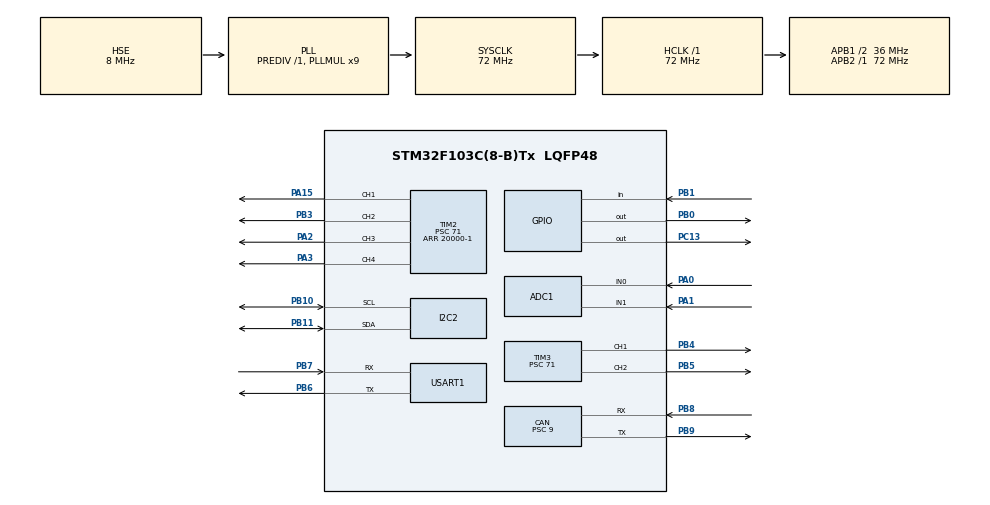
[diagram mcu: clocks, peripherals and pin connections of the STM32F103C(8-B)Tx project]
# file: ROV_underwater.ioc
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ADC1.Channel-3\#ChannelRegularConversion=ADC_CHANNEL_0
ADC1.Channel-4\#ChannelRegularConversion=ADC_CHANNEL_1
ADC1.ContinuousConvMode=DISABLE
ADC1.DataAlign=ADC_DATAALIGN_RIGHT
ADC1.DiscontinuousConvMode=DISABLE
ADC1.InjNumberOfConversion=0
ADC1.NbrOfConversion=2
ADC1.NbrOfConversionFlag=1
ADC1.Rank-3\#ChannelRegularConversion=1
ADC1.Rank-4\#ChannelRegularConversion=2
ADC1.SamplingTime-3\#ChannelRegularConversion=ADC_SAMPLETIME_1CYCLE_5
ADC1.SamplingTime-4\#ChannelRegularConversion=ADC_SAMPLETIME_1CYCLE_5
ADC1.master=1
CAN.BS1=CAN_BS1_13TQ
CAN.BS2=CAN_BS2_2TQ
CAN.CalculateTimeBit=4000
CAN.CalculateTimeQuantum=250.0
CAN.Prescaler=9
Dma.ADC1.0.Direction=DMA_PERIPH_TO_MEMORY
Dma.ADC1.0.Instance=DMA1_Channel1
Dma.ADC1.0.MemDataAlignment=DMA_MDATAALIGN_HALFWORD
Dma.ADC1.0.MemInc=DMA_MINC_ENABLE
Dma.ADC1.0.Mode=DMA_CIRCULAR
Dma.ADC1.0.PeriphDataAlignment=DMA_PDATAALIGN_HALFWORD
Dma.ADC1.0.PeriphInc=DMA_PINC_DISABLE
Dma.ADC1.0.Priority=DMA_PRIORITY_LOW
Dma.Request0=ADC1
I2C2.DualAddressMode=I2C_DUALADDRESS_DISABLE
I2C2.I2C_Mode=I2C_Standard
I2C2.NoStretchMode=I2C_NOSTRETCH_DISABLE
Mcu.Family=STM32F1
Mcu.Name=STM32F103C(8-B)Tx
Mcu.Package=LQFP48
NVIC.DMA1_Channel1_IRQn=true\:0\:0\:false\:false\:true\:false\:true
NVIC.PriorityGroup=NVIC_PRIORITYGROUP_4
NVIC.TIM2_IRQn=true\:0\:0\:false\:false\:true\:true\:true
NVIC.TIM3_IRQn=true\:0\:0\:false\:false\:true\:true\:true
NVIC.USB_HP_CAN1_TX_IRQn=true\:0\:0\:false\:false\:true\:true\:true
NVIC.USB_LP_CAN1_RX0_IRQn=true\:0\:0\:false\:false\:true\:true\:true
PA0-WKUP.Signal=ADCx_IN0
PA1.Signal=ADCx_IN1
PA13.Mode=Serial_Wire
PA13.Signal=SYS_JTMS-SWDIO
PA14.Mode=Serial_Wire
PA14.Signal=SYS_JTCK-SWCLK
PA15.Signal=S_TIM2_CH1_ETR
PA2.Signal=S_TIM2_CH3
PA3.Signal=S_TIM2_CH4
PB0.Signal=GPIO_Output
PB1.Signal=GPIO_Input
PB10.Mode=I2C
PB10.Signal=I2C2_SCL
PB11.Mode=I2C
PB11.Signal=I2C2_SDA
PB3.Signal=S_TIM2_CH2
PB4.Signal=S_TIM3_CH1
PB5.Signal=S_TIM3_CH2
PB6.Mode=Asynchronous
PB6.Signal=USART1_TX
PB7.Mode=Asynchronous
PB7.Signal=USART1_RX
PB8.Mode=Master
PB8.Signal=CAN_RX
PB9.Mode=Master
PB9.Signal=CAN_TX
PC13-TAMPER-RTC.GPIO_ModeDefaultOutputPP=GPIO_MODE_OUTPUT_PP
PC13-TAMPER-RTC.GPIO_PuPd=GPIO_NOPULL
PC13-TAMPER-RTC.Signal=GPIO_Output
PC14-OSC32_IN.Mode=LSE-External-Oscillator
PC14-OSC32_IN.Signal=RCC_OSC32_IN
PC15-OSC32_OUT.Mode=LSE-External-Oscillator
PC15-OSC32_OUT.Signal=RCC_OSC32_OUT
PD0-OSC_IN.Mode=HSE-External-Oscillator
PD0-OSC_IN.Signal=RCC_OSC_IN
PD1-OSC_OUT.Mode=HSE-External-Oscillator
PD1-OSC_OUT.Signal=RCC_OSC_OUT
ProjectManager.HeapSize=0x200
ProjectManager.StackSize=0x400
ProjectManager.TargetToolchain=STM32CubeIDE
RCC.ADCPresc=RCC_ADCPCLK2_DIV6
RCC.AHBFreq_Value=72000000
RCC.APB1CLKDivider=RCC_HCLK_DIV2
RCC.APB1Freq_Value=36000000
RCC.APB1TimFreq_Value=72000000
RCC.APB2Freq_Value=72000000
RCC.APB2TimFreq_Value=72000000
RCC.HCLKFreq_Value=72000000
RCC.PLLMUL=RCC_PLL_MUL9
RCC.PLLSourceVirtual=RCC_PLLSOURCE_HSE
RCC.SYSCLKFreq_VALUE=72000000
RCC.SYSCLKSource=RCC_SYSCLKSOURCE_PLLCLK
RCC.USBFreq_Value=72000000
SH.ADCx_IN0.0=ADC1_IN0,IN0
SH.ADCx_IN1.0=ADC1_IN1,IN1
SH.S_TIM2_CH1_ETR.0=TIM2_CH1,PWM Generation1 CH1
SH.S_TIM2_CH2.0=TIM2_CH2,PWM Generation2 CH2
SH.S_TIM2_CH3.0=TIM2_CH3,PWM Generation3 CH3
SH.S_TIM2_CH4.0=TIM2_CH4,PWM Generation4 CH4
SH.S_TIM3_CH1.0=TIM3_CH1,PWM Generation1 CH1
SH.S_TIM3_CH2.0=TIM3_CH2,PWM Generation2 CH2
TIM2.AutoReloadPreload=TIM_AUTORELOAD_PRELOAD_DISABLE
TIM2.Channel-PWM\ Generation1\ CH1=TIM_CHANNEL_1
TIM2.Channel-PWM\ Generation2\ CH2=TIM_CHANNEL_2
TIM2.Channel-PWM\ Generation3\ CH3=TIM_CHANNEL_3
TIM2.Channel-PWM\ Generation4\ CH4=TIM_CHANNEL_4
TIM2.Period=20000-1
TIM2.Prescaler=71
TIM3.AutoReloadPreload=TIM_AUTORELOAD_PRELOAD_DISABLE
TIM3.Channel-PWM\ Generation1\ CH1=TIM_CHANNEL_1
TIM3.Channel-PWM\ Generation2\ CH2=TIM_CHANNEL_2
TIM3.Period=20000-1
TIM3.Prescaler=71
TIM3.Pulse-PWM\ Generation1\ CH1=0
USART1.VirtualMode=VM_ASYNC
board=custom

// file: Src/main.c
/* USER CODE BEGIN Header */
/**
  ******************************************************************************
  * @file           : main.c
  * @brief          : Main program body
  ******************************************************************************
  * @attention
  *
  * <h2><center>&copy; Copyright (c) 2019 STMicroelectronics.
  * All rights reserved.</center></h2>
  *
  * This software component is licensed by ST under BSD 3-Clause license,
  * the "License"; You may not use this file except in compliance with the
  * License. You may obtain a copy of the License at:
  *                        opensource.org/licenses/BSD-3-Clause
  *
  ******************************************************************************
  */
/* USER CODE END Header */

#include "main.h"

/* USER CODE BEGIN Includes */
#include "sd_hal_mpu6050.h"
#define INTERVAL 3000 //interval ms
/* USER CODE END Includes */

ADC_HandleTypeDef hadc1;
DMA_HandleTypeDef hdma_adc1;

CAN_HandleTypeDef hcan;

I2C_HandleTypeDef hi2c2;

TIM_HandleTypeDef htim2;
TIM_HandleTypeDef htim3;

UART_HandleTypeDef huart1;

/* USER CODE BEGIN PV */

typedef struct{

	uint8_t mod;
	uint8_t armco;
	uint16_t desired_angle;
	uint16_t valueJoyStick_X_1;
	uint16_t valueJoyStick_Y_1;
	uint16_t valueJoyStick_X_2;
	uint16_t valueJoyStick_Y_2;

}Master;

Master control;
SD_MPU6050 mpu1 = {0};
CAN_FilterTypeDef sFilterConfig;
CAN_TxHeaderTypeDef TxHeader;
CAN_RxHeaderTypeDef RxHeader;
uint8_t TxData[8];
uint8_t RxData[8];
uint32_t TxMailbox;

uint16_t on_deger, arka_deger, onsa_deger, onso_deger, arsa_deger, arso_deger;

uint32_t last_time;

uint16_t adc_buffer[2];
uint8_t pin;
uint8_t armed = 1;
uint16_t i=0;
uint16_t pwmLeft = 1500;
uint16_t pwmRight = 1500;

char in[8];
/* USER CODE END PV */

void SystemClock_Config(void);
static void MX_GPIO_Init(void);
static void MX_DMA_Init(void);
static void MX_ADC1_Init(void);
static void MX_CAN_Init(void);
static void MX_I2C2_Init(void);
static void MX_TIM2_Init(void);
static void MX_TIM3_Init(void);
static void MX_USART1_UART_Init(void);

/* USER CODE BEGIN 0 */
float Battery();
void uartPrintln();
void uartPrint();
void arming();
uint16_t parseData(uint8_t bit8data);

float gyroXoffset, gyroYoffset, gyroZoffset;

float elapsedTime, time, timePrev;
float rad_to_deg = 180/3.141592654;

float PID = 0;
float error = 0;
float previous_error = 0;
float pid_p = 0;
float pid_i = 0;
float pid_d = 0;

double kp=3.55;//3.55
double ki=0.03;//0.003
double kd=2.05;//2.05

float desired_angle = 0;
/* USER CODE END 0 */

int main(void)
{

  /* MCU Configuration--------------------------------------------------------*/

  /* Reset of all peripherals, Initializes the Flash interface and the Systick. */
  HAL_Init();

  /* Configure the system clock */
  SystemClock_Config();

  /* Initialize all configured peripherals */
  MX_GPIO_Init();
  MX_DMA_Init();
  MX_ADC1_Init();
  MX_CAN_Init();
  MX_I2C2_Init();
  MX_TIM2_Init();
  MX_TIM3_Init();
  MX_USART1_UART_Init();
  /* USER CODE BEGIN 2 */

    last_time = HAL_GetTick(); // this give us the current

    HAL_TIM_Base_Start(&htim2);
    HAL_TIM_Base_Start(&htim3);

    HAL_ADC_Start_DMA(&hadc1, (uint32_t *)adc_buffer, 2);

    HAL_TIM_PWM_Start(&htim2, TIM_CHANNEL_1);
    HAL_TIM_PWM_Start(&htim2, TIM_CHANNEL_2);
    HAL_TIM_PWM_Start(&htim2, TIM_CHANNEL_3);
    HAL_TIM_PWM_Start(&htim2, TIM_CHANNEL_4);

    HAL_TIM_PWM_Start(&htim3, TIM_CHANNEL_1);
    HAL_TIM_PWM_Start(&htim3, TIM_CHANNEL_2);

    sFilterConfig.FilterBank = 0;
    sFilterConfig.FilterMode = CAN_FILTERMODE_IDMASK;
    sFilterConfig.FilterScale = CAN_FILTERSCALE_32BIT;
    sFilterConfig.FilterIdHigh = 0x0000;
    sFilterConfig.FilterIdLow = 0x0000;
    sFilterConfig.FilterMaskIdHigh = 0x0000;
    sFilterConfig.FilterMaskIdLow = 0x0000;
    sFilterConfig.FilterFIFOAssignment = CAN_RX_FIFO0;
    sFilterConfig.FilterActivation = ENABLE;
    sFilterConfig.SlaveStartFilterBank = 14;

    if (HAL_CAN_ConfigFilter(&hcan, &sFilterConfig) != HAL_OK)
    {
        /* Filter configuration Error */
        Error_Handler();
    }

    if (HAL_CAN_Start(&hcan) != HAL_OK)
    {
        /* Start Error */
        Error_Handler();
    }

    if (HAL_CAN_ActivateNotification(&hcan, CAN_IT_RX_FIFO0_MSG_PENDING | CAN_IT_TX_MAILBOX_EMPTY) != HAL_OK)
    {
        /* Notification Error */
        Error_Handler();
    }

    TxHeader.StdId = 0x321;
    TxHeader.ExtId = 0x01;
    TxHeader.RTR = CAN_RTR_DATA;
    TxHeader.IDE = CAN_ID_STD;
    TxHeader.DLC = 8;
    TxHeader.TransmitGlobalTime = DISABLE;

    time = HAL_GetTick();

    SD_MPU6050_Init(&hi2c2,&mpu1,SD_MPU6050_Device_0,SD_MPU6050_Accelerometer_2G,SD_MPU6050_Gyroscope_500s,1);

  /* USER CODE END 2 */

  /* Infinite loop */
    while (1)
    {

    /* USER CODE BEGIN 3 */
    	timePrev = time;
    	time = HAL_GetTick();
        elapsedTime = (time - timePrev) * 0.001;

        pin=HAL_GPIO_ReadPin(GPIOB, GPIO_PIN_1);

	    control.valueJoyStick_X_1 = parseData(RxData[0]);
		control.valueJoyStick_Y_1 = parseData(RxData[1]);
		control.valueJoyStick_X_2= parseData(RxData[2]);
		control.valueJoyStick_Y_2 = parseData(RxData[3]);
		control.desired_angle = parseData(RxData[4]);
		control.armco = RxData[5];
		control.mod = RxData[6];

        if(pin == 0 || control.mod!=1){
	    __HAL_TIM_SET_COMPARE(&htim2, TIM_CHANNEL_1, 0);
		__HAL_TIM_SET_COMPARE(&htim2, TIM_CHANNEL_2, 0);
		__HAL_TIM_SET_COMPARE(&htim2, TIM_CHANNEL_3, 0);
		__HAL_TIM_SET_COMPARE(&htim2, TIM_CHANNEL_4, 0);

		__HAL_TIM_SET_COMPARE(&htim3, TIM_CHANNEL_1, 0);
		__HAL_TIM_SET_COMPARE(&htim3, TIM_CHANNEL_2, 0);
		HAL_Delay(1000);
		HAL_NVIC_SystemReset();
        }

        arming();

    	char tx[250];

    	SD_MPU6050_ReadAngles(&hi2c2, &mpu1);

		//float AngleX = mpu1.GyroAngles_X;
		//float AngleY = mpu1.GyroAngles_Y;
		//float AngleZ = mpu1.GyroAngles_Z;
		float Temp = mpu1.Temperature;
		float AngleX = mpu1.Angels_X/2.0;
		float AngleY = mpu1.Angels_Y/2.0;
		float AngleZ = mpu1.Angels_Z/2.0;

		error = AngleZ - desired_angle;

		pid_p = kp*error;

		//if(-3.0 >= error && error <=3.0)
		pid_i = pid_i+(ki*error)*elapsedTime;

		pid_d = kd*((error - previous_error)/elapsedTime);

		PID = pid_p + pid_i + pid_d;

		if(PID <= -1000)
		  PID=-1000;
		if(PID >= 1000)
		  PID=1000;

        if(control.valueJoyStick_Y_1<1000 || control.valueJoyStick_Y_1>2000 || control.valueJoyStick_X_1<1000 || control.valueJoyStick_X_1>2000
        || control.valueJoyStick_Y_2<1000 || control.valueJoyStick_Y_2>2000 || control.valueJoyStick_X_2<1000 || control.valueJoyStick_X_2>2000)
        {
        	control.valueJoyStick_Y_1 = 1500;
        	control.valueJoyStick_X_1 = 1500;
        	control.valueJoyStick_Y_2 = 1500;
        	control.valueJoyStick_X_2 = 1500;
        }
        __HAL_TIM_SET_COMPARE(&htim3, TIM_CHANNEL_2, control.valueJoyStick_Y_1);//yukarı
        __HAL_TIM_SET_COMPARE(&htim2, TIM_CHANNEL_1, control.valueJoyStick_Y_1);//control.valueJoyStick_Y_1
/*
        pwmLeft + (int)PID
		pwmRight - (int)PID
		pwmRight - (int)PID
		pwmLeft + (int)PID
		*/
    	onsa_deger =  1500 + (int)PID  - (control.valueJoyStick_Y_2 - 1500) + (control.valueJoyStick_X_2 - 1500) + (control.valueJoyStick_X_1 - 1500);
        onso_deger =  1500 - (int)PID  - (control.valueJoyStick_Y_2 - 1500) - (control.valueJoyStick_X_2 - 1500) - (control.valueJoyStick_X_1 - 1500);
        arsa_deger =  1500 - (int)PID  + (control.valueJoyStick_Y_2 - 1500) + (control.valueJoyStick_X_2 - 1500) - (control.valueJoyStick_X_1 - 1500);
        arso_deger =  1500 + (int)PID + (control.valueJoyStick_Y_2 - 1500) - (control.valueJoyStick_X_2 - 1500) + (control.valueJoyStick_X_1 - 1500);

        if (onsa_deger >= 2000)
            onsa_deger = 2000;
        else if (onsa_deger <= 1000)
            onsa_deger = 1000;
        if (arsa_deger >= 2000)
            arsa_deger = 2000;
        else if (arsa_deger <= 1000)
            arsa_deger = 1000;
        if (onso_deger >= 2000)
            onso_deger = 2000;
        else if (onso_deger <= 1000)
            onso_deger = 1000;
        if (arso_deger >= 2000)
            arso_deger = 2000;
        else if (arso_deger <= 1000)
            arso_deger = 1000;

        if(control.desired_angle == 1){
        	desired_angle = control.desired_angle*90;
        }

        //desired_angle = 90*control.desired_angle;

        if(control.valueJoyStick_X_1 != 1500)
        desired_angle = AngleZ;

        __HAL_TIM_SET_COMPARE(&htim2, TIM_CHANNEL_2, arsa_deger);//arsa_deger
        __HAL_TIM_SET_COMPARE(&htim3, TIM_CHANNEL_1, arso_deger);
        __HAL_TIM_SET_COMPARE(&htim2, TIM_CHANNEL_4, onso_deger);
        __HAL_TIM_SET_COMPARE(&htim2, TIM_CHANNEL_3, onsa_deger);

        if(control.armco == 1)
        	HAL_GPIO_WritePin(GPIOB, GPIO_PIN_0, GPIO_PIN_SET);
        else
        	HAL_GPIO_WritePin(GPIOB, GPIO_PIN_0, GPIO_PIN_RESET);
        //HAL_UART_Transmit(&huart1, (uint8_t*)tx, sprintf(tx, "X_1: %d Y_1: %d X_2: %d Y_2: %d\n", arsa_deger,arso_deger,onso_deger,onsa_deger), 500);
        //HAL_UART_Transmit(&huart1, (uint8_t*)tx, sprintf(tx, "X_1: %d Y_1: %d X_2: %d Y_2: %d angle: %d arm: %d mod: %d\n", control.valueJoyStick_X_1,control.valueJoyStick_Y_1,control.valueJoyStick_X_2,control.valueJoyStick_Y_2,control.desired_angle,control.armco,control.mod), 500);

        //HAL_UART_Transmit(&huart1, (uint8_t*)tx, sprintf(tx, "AngleX: %f AngleY: %f AngelZ: %f desired_angle: %f error: %f\n", AngleX,AngleY,AngleZ,desired_angle,error), 500);
/*
       	 if(HAL_GetTick() - last_time > INTERVAL)
       	 {
       		TxData[0] = Battery();
       		last_time = HAL_GetTick();

       		HAL_CAN_AddTxMessage(&hcan, &TxHeader, TxData, &TxMailbox);

       		//HAL_UART_Transmit(&huart1, (uint16_t*)tx, sprintf(tx, "Batt: %d\n", TxData[0]), 500);
       	 }
*/

        //SD_MPU6050_ReadTemperature(&hi2c2, &mpu1);

        //float temper = mpu1.Temperature;
        //temp = (char)temper;
        /*
        SD_MPU6050_ReadGyroscope(&hi2c2, &mpu1);
        int16_t g_x = mpu1.Gyroscope_X;
        int16_t g_y = mpu1.Gyroscope_Y;
        int16_t g_z = mpu1.Gyroscope_Z;

        SD_MPU6050_ReadAccelerometer(&hi2c2, &mpu1);
        int16_t a_x = mpu1.Accelerometer_X;
        int16_t a_y = mpu1.Accelerometer_Y;
        int16_t a_z = mpu1.Accelerometer_Z;
        */

       // HAL_UART_Transmit(&huart1, (uint8_t*)tx, sprintf(tx, "pid_p: %f pid_i: %f pid_d: %f desired_angle: %f error: %f\n", pid_p,pid_i,pid_d,desired_angle,error), 500);
        //HAL_UART_Transmit(&huart1, (uint8_t*)tx, sprintf(tx, "pwmRight: %d pwmLeft: %d\n", pwmRight,pwmLeft), 500);

        HAL_UART_Transmit(&huart1, (uint8_t*)tx, sprintf(tx, "dataXaxis: %f dataYaxis: %f dataZaxis: %f\n PWML: %d", AngleX, AngleY, AngleZ,pwmLeft), 500);

        previous_error = error;

    }
  /* USER CODE END 3 */
}

void SystemClock_Config(void)
{
  RCC_OscInitTypeDef RCC_OscInitStruct = {0};
  RCC_ClkInitTypeDef RCC_ClkInitStruct = {0};
  RCC_PeriphCLKInitTypeDef PeriphClkInit = {0};

  /** Initializes the CPU, AHB and APB busses clocks
  */
  RCC_OscInitStruct.OscillatorType = RCC_OSCILLATORTYPE_HSE;
  RCC_OscInitStruct.HSEState = RCC_HSE_ON;
  RCC_OscInitStruct.HSEPredivValue = RCC_HSE_PREDIV_DIV1;
  RCC_OscInitStruct.HSIState = RCC_HSI_ON;
  RCC_OscInitStruct.PLL.PLLState = RCC_PLL_ON;
  RCC_OscInitStruct.PLL.PLLSource = RCC_PLLSOURCE_HSE;
  RCC_OscInitStruct.PLL.PLLMUL = RCC_PLL_MUL9;
  if (HAL_RCC_OscConfig(&RCC_OscInitStruct) != HAL_OK)
  {
    Error_Handler();
  }
  /** Initializes the CPU, AHB and APB busses clocks
  */
  RCC_ClkInitStruct.ClockType = RCC_CLOCKTYPE_HCLK|RCC_CLOCKTYPE_SYSCLK
                              |RCC_CLOCKTYPE_PCLK1|RCC_CLOCKTYPE_PCLK2;
  RCC_ClkInitStruct.SYSCLKSource = RCC_SYSCLKSOURCE_PLLCLK;
  RCC_ClkInitStruct.AHBCLKDivider = RCC_SYSCLK_DIV1;
  RCC_ClkInitStruct.APB1CLKDivider = RCC_HCLK_DIV2;
  RCC_ClkInitStruct.APB2CLKDivider = RCC_HCLK_DIV1;

  if (HAL_RCC_ClockConfig(&RCC_ClkInitStruct, FLASH_LATENCY_2) != HAL_OK)
  {
    Error_Handler();
  }
  PeriphClkInit.PeriphClockSelection = RCC_PERIPHCLK_ADC;
  PeriphClkInit.AdcClockSelection = RCC_ADCPCLK2_DIV6;
  if (HAL_RCCEx_PeriphCLKConfig(&PeriphClkInit) != HAL_OK)
  {
    Error_Handler();
  }
}

static void MX_ADC1_Init(void)
{

  ADC_ChannelConfTypeDef sConfig = {0};

  /** Common config
  */
  hadc1.Instance = ADC1;
  hadc1.Init.ScanConvMode = ADC_SCAN_ENABLE;
  hadc1.Init.ContinuousConvMode = DISABLE;
  hadc1.Init.DiscontinuousConvMode = DISABLE;
  hadc1.Init.ExternalTrigConv = ADC_SOFTWARE_START;
  hadc1.Init.DataAlign = ADC_DATAALIGN_RIGHT;
  hadc1.Init.NbrOfConversion = 2;
  if (HAL_ADC_Init(&hadc1) != HAL_OK)
  {
    Error_Handler();
  }
  /** Configure Regular Channel
  */
  sConfig.Channel = ADC_CHANNEL_0;
  sConfig.Rank = ADC_REGULAR_RANK_1;
  sConfig.SamplingTime = ADC_SAMPLETIME_1CYCLE_5;
  if (HAL_ADC_ConfigChannel(&hadc1, &sConfig) != HAL_OK)
  {
    Error_Handler();
  }
  /** Configure Regular Channel
  */
  sConfig.Channel = ADC_CHANNEL_1;
  sConfig.Rank = ADC_REGULAR_RANK_2;
  if (HAL_ADC_ConfigChannel(&hadc1, &sConfig) != HAL_OK)
  {
    Error_Handler();
  }

}

static void MX_CAN_Init(void)
{

  hcan.Instance = CAN1;
  hcan.Init.Prescaler = 9;
  hcan.Init.Mode = CAN_MODE_NORMAL;
  hcan.Init.SyncJumpWidth = CAN_SJW_1TQ;
  hcan.Init.TimeSeg1 = CAN_BS1_13TQ;
  hcan.Init.TimeSeg2 = CAN_BS2_2TQ;
  hcan.Init.TimeTriggeredMode = DISABLE;
  hcan.Init.AutoBusOff = DISABLE;
  hcan.Init.AutoWakeUp = DISABLE;
  hcan.Init.AutoRetransmission = DISABLE;
  hcan.Init.ReceiveFifoLocked = DISABLE;
  hcan.Init.TransmitFifoPriority = DISABLE;
  if (HAL_CAN_Init(&hcan) != HAL_OK)
  {
    Error_Handler();
  }

}

static void MX_I2C2_Init(void)
{

  hi2c2.Instance = I2C2;
  hi2c2.Init.ClockSpeed = 100000;
  hi2c2.Init.DutyCycle = I2C_DUTYCYCLE_2;
  hi2c2.Init.OwnAddress1 = 0;
  hi2c2.Init.AddressingMode = I2C_ADDRESSINGMODE_7BIT;
  hi2c2.Init.DualAddressMode = I2C_DUALADDRESS_DISABLE;
  hi2c2.Init.OwnAddress2 = 0;
  hi2c2.Init.GeneralCallMode = I2C_GENERALCALL_DISABLE;
  hi2c2.Init.NoStretchMode = I2C_NOSTRETCH_DISABLE;
  if (HAL_I2C_Init(&hi2c2) != HAL_OK)
  {
    Error_Handler();
  }

}

static void MX_TIM2_Init(void)
{

  TIM_MasterConfigTypeDef sMasterConfig = {0};
  TIM_OC_InitTypeDef sConfigOC = {0};

  htim2.Instance = TIM2;
  htim2.Init.Prescaler = 71;
  htim2.Init.CounterMode = TIM_COUNTERMODE_UP;
  htim2.Init.Period = 20000-1;
  htim2.Init.ClockDivision = TIM_CLOCKDIVISION_DIV1;
  htim2.Init.AutoReloadPreload = TIM_AUTORELOAD_PRELOAD_DISABLE;
  if (HAL_TIM_PWM_Init(&htim2) != HAL_OK)
  {
    Error_Handler();
  }
  sMasterConfig.MasterOutputTrigger = TIM_TRGO_RESET;
  sMasterConfig.MasterSlaveMode = TIM_MASTERSLAVEMODE_DISABLE;
  if (HAL_TIMEx_MasterConfigSynchronization(&htim2, &sMasterConfig) != HAL_OK)
  {
    Error_Handler();
  }
  sConfigOC.OCMode = TIM_OCMODE_PWM1;
  sConfigOC.Pulse = 0;
  sConfigOC.OCPolarity = TIM_OCPOLARITY_HIGH;
  sConfigOC.OCFastMode = TIM_OCFAST_DISABLE;
  if (HAL_TIM_PWM_ConfigChannel(&htim2, &sConfigOC, TIM_CHANNEL_1) != HAL_OK)
  {
    Error_Handler();
  }
  if (HAL_TIM_PWM_ConfigChannel(&htim2, &sConfigOC, TIM_CHANNEL_2) != HAL_OK)
  {
    Error_Handler();
  }
  if (HAL_TIM_PWM_ConfigChannel(&htim2, &sConfigOC, TIM_CHANNEL_3) != HAL_OK)
  {
    Error_Handler();
  }
  if (HAL_TIM_PWM_ConfigChannel(&htim2, &sConfigOC, TIM_CHANNEL_4) != HAL_OK)
  {
    Error_Handler();
  }
  HAL_TIM_MspPostInit(&htim2);

}

static void MX_TIM3_Init(void)
{

  TIM_MasterConfigTypeDef sMasterConfig = {0};
  TIM_OC_InitTypeDef sConfigOC = {0};

  htim3.Instance = TIM3;
  htim3.Init.Prescaler = 71;
  htim3.Init.CounterMode = TIM_COUNTERMODE_UP;
  htim3.Init.Period = 20000-1;
  htim3.Init.ClockDivision = TIM_CLOCKDIVISION_DIV1;
  htim3.Init.AutoReloadPreload = TIM_AUTORELOAD_PRELOAD_DISABLE;
  if (HAL_TIM_PWM_Init(&htim3) != HAL_OK)
  {
    Error_Handler();
  }
  sMasterConfig.MasterOutputTrigger = TIM_TRGO_RESET;
  sMasterConfig.MasterSlaveMode = TIM_MASTERSLAVEMODE_DISABLE;
  if (HAL_TIMEx_MasterConfigSynchronization(&htim3, &sMasterConfig) != HAL_OK)
  {
    Error_Handler();
  }
  sConfigOC.OCMode = TIM_OCMODE_PWM1;
  sConfigOC.Pulse = 0;
  sConfigOC.OCPolarity = TIM_OCPOLARITY_HIGH;
  sConfigOC.OCFastMode = TIM_OCFAST_DISABLE;
  if (HAL_TIM_PWM_ConfigChannel(&htim3, &sConfigOC, TIM_CHANNEL_1) != HAL_OK)
  {
    Error_Handler();
  }
  if (HAL_TIM_PWM_ConfigChannel(&htim3, &sConfigOC, TIM_CHANNEL_2) != HAL_OK)
  {
    Error_Handler();
  }
  HAL_TIM_MspPostInit(&htim3);

}

static void MX_USART1_UART_Init(void)
{

  huart1.Instance = USART1;
  huart1.Init.BaudRate = 115200;
  huart1.Init.WordLength = UART_WORDLENGTH_8B;
  huart1.Init.StopBits = UART_STOPBITS_1;
  huart1.Init.Parity = UART_PARITY_NONE;
  huart1.Init.Mode = UART_MODE_TX_RX;
  huart1.Init.HwFlowCtl = UART_HWCONTROL_NONE;
  huart1.Init.OverSampling = UART_OVERSAMPLING_16;
  if (HAL_UART_Init(&huart1) != HAL_OK)
  {
    Error_Handler();
  }

}

static void MX_DMA_Init(void)
{

  /* DMA controller clock enable */
  __HAL_RCC_DMA1_CLK_ENABLE();

  /* DMA interrupt init */
  /* DMA1_Channel1_IRQn interrupt configuration */
  HAL_NVIC_SetPriority(DMA1_Channel1_IRQn, 0, 0);
  HAL_NVIC_EnableIRQ(DMA1_Channel1_IRQn);

}

static void MX_GPIO_Init(void)
{
  GPIO_InitTypeDef GPIO_InitStruct = {0};

  /* GPIO Ports Clock Enable */
  __HAL_RCC_GPIOC_CLK_ENABLE();
  __HAL_RCC_GPIOD_CLK_ENABLE();
  __HAL_RCC_GPIOA_CLK_ENABLE();
  __HAL_RCC_GPIOB_CLK_ENABLE();

  /*Configure GPIO pin Output Level */
  HAL_GPIO_WritePin(GPIOC, GPIO_PIN_13, GPIO_PIN_RESET);

  /*Configure GPIO pin Output Level */
  HAL_GPIO_WritePin(GPIOB, GPIO_PIN_0, GPIO_PIN_RESET);

  /*Configure GPIO pin : PC13 */
  GPIO_InitStruct.Pin = GPIO_PIN_13;
  GPIO_InitStruct.Mode = GPIO_MODE_OUTPUT_PP;
  GPIO_InitStruct.Pull = GPIO_NOPULL;
  GPIO_InitStruct.Speed = GPIO_SPEED_FREQ_LOW;
  HAL_GPIO_Init(GPIOC, &GPIO_InitStruct);

  /*Configure GPIO pin : PB0 */
  GPIO_InitStruct.Pin = GPIO_PIN_0;
  GPIO_InitStruct.Mode = GPIO_MODE_OUTPUT_PP;
  GPIO_InitStruct.Pull = GPIO_NOPULL;
  GPIO_InitStruct.Speed = GPIO_SPEED_FREQ_LOW;
  HAL_GPIO_Init(GPIOB, &GPIO_InitStruct);

  /*Configure GPIO pin : PB1 */
  GPIO_InitStruct.Pin = GPIO_PIN_1;
  GPIO_InitStruct.Mode = GPIO_MODE_INPUT;
  GPIO_InitStruct.Pull = GPIO_NOPULL;
  HAL_GPIO_Init(GPIOB, &GPIO_InitStruct);

}

/* USER CODE BEGIN 4 */
float Battery()
{
    HAL_ADC_Start_DMA(&hadc1, (uint32_t *)adc_buffer, 2);

    float refV = 12.6;
    float level = (adc_buffer[0] * refV / 1314)*100;
    level=(int)level;

    return level;
}

void HAL_CAN_TxMailbox0CompleteCallback(CAN_HandleTypeDef *hcan)
{
    HAL_GPIO_TogglePin(GPIOC, GPIO_PIN_13);
}
void HAL_CAN_RxFifo0MsgPendingCallback(CAN_HandleTypeDef *hcan)
{
    HAL_CAN_GetRxMessage(hcan, CAN_RX_FIFO0, &RxHeader, RxData);
    HAL_GPIO_TogglePin(GPIOC, GPIO_PIN_13);
}
void uartPrint(UART_HandleTypeDef *huart, char _out[]){
    HAL_UART_Transmit(huart, (uint8_t *) _out, strlen(_out), 10);
}
void uartPrintln(UART_HandleTypeDef *huart, char _out[]){
    HAL_UART_Transmit(huart, (uint8_t *) _out, strlen(_out), 10);
    char newline[2] = "\r\n";
    HAL_UART_Transmit(huart, (uint8_t *) newline, 2, 10);
}
void arming(){
if(armed == 1){
/*	int i;
	for(i=2100; i<=1000; i--){
				__HAL_TIM_SET_COMPARE(&htim2, TIM_CHANNEL_1, i);
				__HAL_TIM_SET_COMPARE(&htim2, TIM_CHANNEL_2, i);
				__HAL_TIM_SET_COMPARE(&htim2, TIM_CHANNEL_3, i);
				__HAL_TIM_SET_COMPARE(&htim2, TIM_CHANNEL_4, i);

				__HAL_TIM_SET_COMPARE(&htim3, TIM_CHANNEL_1, i);
				__HAL_TIM_SET_COMPARE(&htim3, TIM_CHANNEL_2, i);

				HAL_Delay(10);
			}*/

		__HAL_TIM_SET_COMPARE(&htim2, TIM_CHANNEL_1, 1000);
		__HAL_TIM_SET_COMPARE(&htim2, TIM_CHANNEL_2, 1000);
		__HAL_TIM_SET_COMPARE(&htim2, TIM_CHANNEL_3, 1000);
		__HAL_TIM_SET_COMPARE(&htim2, TIM_CHANNEL_4, 1000);

		__HAL_TIM_SET_COMPARE(&htim3, TIM_CHANNEL_1, 1000);
		__HAL_TIM_SET_COMPARE(&htim3, TIM_CHANNEL_2, 1000);

		HAL_Delay(2000);

		__HAL_TIM_SET_COMPARE(&htim2, TIM_CHANNEL_1, 2000);
		__HAL_TIM_SET_COMPARE(&htim2, TIM_CHANNEL_2, 2000);
		__HAL_TIM_SET_COMPARE(&htim2, TIM_CHANNEL_3, 2000);
		__HAL_TIM_SET_COMPARE(&htim2, TIM_CHANNEL_4, 2000);

		__HAL_TIM_SET_COMPARE(&htim3, TIM_CHANNEL_1, 2000);
		__HAL_TIM_SET_COMPARE(&htim3, TIM_CHANNEL_2, 2000);

		HAL_Delay(500);

		armed = 0;
		}
}

uint16_t parseData(uint8_t bit8data)
{
	return (bit8data*4)+1000;
}

/* USER CODE END 4 */

void Error_Handler(void)
{
}

/************************ (C) COPYRIGHT STMicroelectronics *****END OF FILE****/
